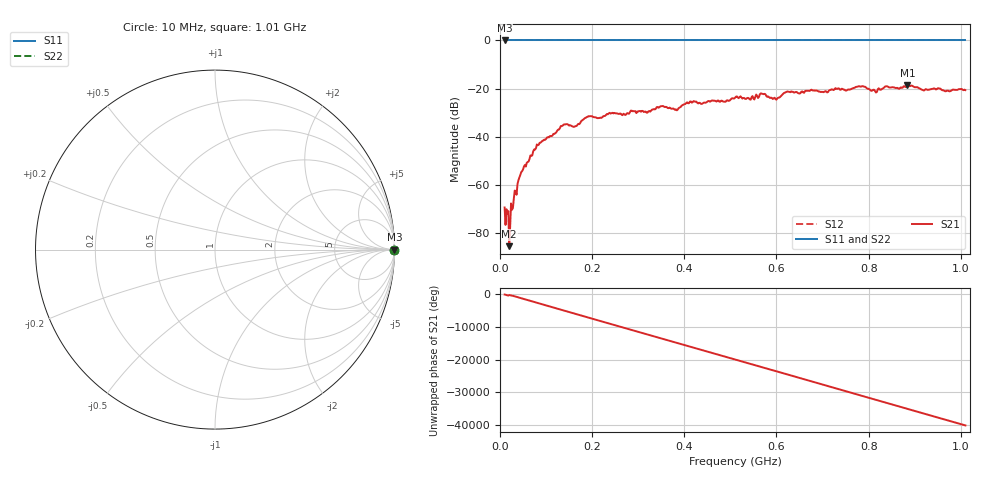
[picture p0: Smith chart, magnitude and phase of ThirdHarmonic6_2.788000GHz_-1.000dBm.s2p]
! 8/17/2025 7:11:38 AM
! C:\ANRITSUVNA\TEMP\TEMP.S2P
! CHANNEL.1
! TR.MEASUREMENT
! RAW.DATA
! RF.CORRECTION.OFF
! AVERAGING.OFF
! IF.BANDWIDTH: 5KHZ
! SWEEPTYPE:  FREQ.SWEEP(Linear)
! Reference Plane Port Info
! PORT:  PORT1  PORT2
! DISTANCE:  0  m  0  m
! TIME:  0  s  0  s
! PHASE.OFFSET:  0  deg.  0  deg.
! LOSS:  0  dB  0  dB
! REF.LOSS:  0  dB  0  dB
! REF.FREQ:  0  Hz  0  Hz
! Power Info
! POWER:  -20  dBm  -20  dBm
! EFF.POWER:  -20  dBm  -20  dBm
! SOURCE.ATTEN:  0  dB  0  dB
! TEST.ATTEN:  0  dB  0  dB
# GHZ S RI R 50.0
! FREQ.GHZ  S11RE  S11IM  S21RE  S21IM  S12RE  S12IM  S22RE  S22IM
!; PortSelection: Port_12
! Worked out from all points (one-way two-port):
!   501 points, 10 MHz to 1.01 GHz, reference 50 ohm
!   highest |S21| = -18.52 dB at 884 MHz (marker M1); lowest = -85.3 dB at 20 MHz (marker M2)
!   lowest |S11| = 0.0 dB at 10 MHz (marker M3)
!   |S11| at or under -10 dB: nowhere
!   |S22| runs from 0.0 to 0.0 dB; largest |S21 - S12| = 1.1
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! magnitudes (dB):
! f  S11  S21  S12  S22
! 10 MHz  0.0  -69.3  0.0  0.0
! 20 MHz  0.0  -85.3  0.0  0.0
! 24 MHz  0.0  -67.6  0.0  0.0
! 28 MHz  0.0  -69.5  0.0  0.0
! 44 MHz  0.0  -55.9  0.0  0.0
! 78 MHz  0.0  -44.7  0.0  0.0
! 136 MHz  0.0  -35.3  0.0  0.0
! 162 MHz  0.0  -35.7  0.0  0.0
! 178 MHz  0.0  -33.2  0.0  0.0
! 344 MHz  0.0  -27.9  0.0  0.0
! 382 MHz  0.0  -28.6  0.0  0.0
! 410 MHz  0.0  -26.0  0.0  0.0
! 510 MHz  0.0  -23.8  0.0  0.0
! 570 MHz  0.0  -22.2  0.0  0.0
! 596 MHz  0.0  -23.8  0.0  0.0
! 622 MHz  0.0  -21.3  0.0  0.0
! 678 MHz  0.0  -20.7  0.0  0.0
! 784 MHz  0.0  -19.1  0.0  0.0
! 814 MHz  0.0  -21.0  0.0  0.0
! 844 MHz  0.0  -19.5  0.0  0.0
! 884 MHz  0.0  -18.5  0.0  0.0
! 1.01 GHz  0.0  -20.6  0.0  0.0
